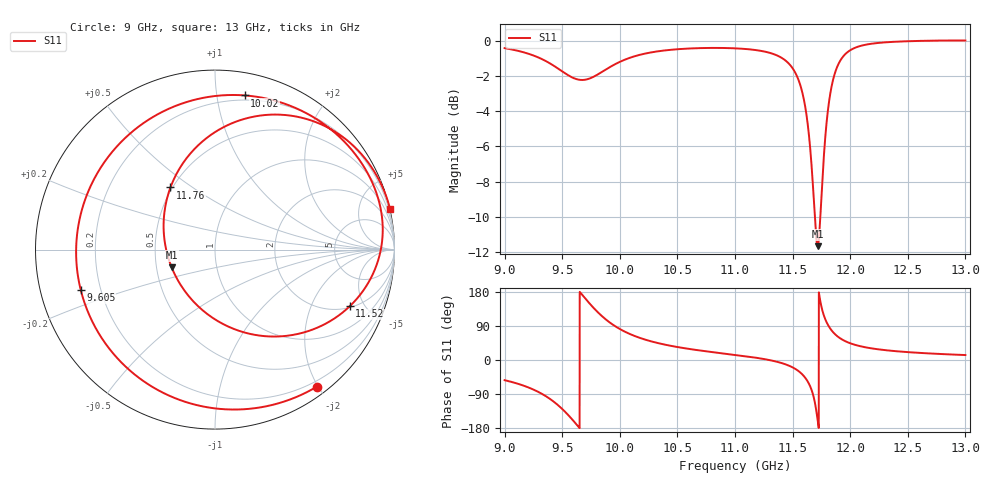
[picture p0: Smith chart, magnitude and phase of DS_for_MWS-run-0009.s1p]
! TOUCHSTONE file generated by CST DESIGN STUDIO
! Date and time: Tue Feb  4 16:19:31 2025
! Project name: C:\Work\MatlabApps\UnitCellOptimizationMatlab\CST\unitcell.cst
! Tree item: Tasks\Sweep1\SPara1\S-Parameters
! Header version: 2024
! Port assignment regex: !\s*Touchstone port\s*([0-9]+)\s*=\s*(CST MWS port|CST DES external port|CST DES block port)\s*(.+)\s* \(\"(.*)\"\)(\s*mode\s*([0-9]+))?.*
! Touchstone port assignment:
! Touchstone port 1 = CST DES external port 1 ("")
# GHz S MA R 50
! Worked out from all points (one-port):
!   4001 points, 9 GHz to 13 GHz, reference 50 ohm
!   lowest |S11| = -11.7 dB at 11.72 GHz (marker M1), VSWR 1.71, Z = 30 - j6.35 ohm
!   |S11| at or under -10 dB: 11.69284 GHz to 11.74071 GHz (47.87 MHz wide, 0.409 % of centre)
!   S11 on the Smith chart (normalised r, x): 9 GHz: 0.12, -1.99; 9.605 GHz: 0.13, -0.15; 10.02 GHz: 0.16, +1.20; 11.52 GHz: 2.08, -3.90; 11.76 GHz: 0.49, +0.41; 13 GHz: -0.02, +8.73
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9  0.9516 -53.3
9.169  0.9254 -68.1
9.321  0.8869 -88.8
9.5  0.8177 -129.2
9.605  0.7811 -163.2
9.699  0.7742 162.8
9.809  0.8014 126.1
9.897  0.8345 102.6
10  0.87 81.8
10.016  0.8748 79.1
10.225  0.9192 53.3
10.5  0.9448 34.2
11  0.9504 13.5
11.329  0.9169 -2.1
11.5  0.8344 -19.5
11.52  0.8142 -22.8
11.585  0.7109 -38.2
11.643  0.5349 -63.3
11.68  0.3715 -94.2
11.717  0.261 -157.8
11.763  0.4259 125.7
11.803  0.6192 94.9
11.846  0.7609 75.3
11.916  0.8796 56.6
12  0.9386 44.2
12.182  0.9791 30.9
12.5  0.9956 20.8
13  1.001 13.1
